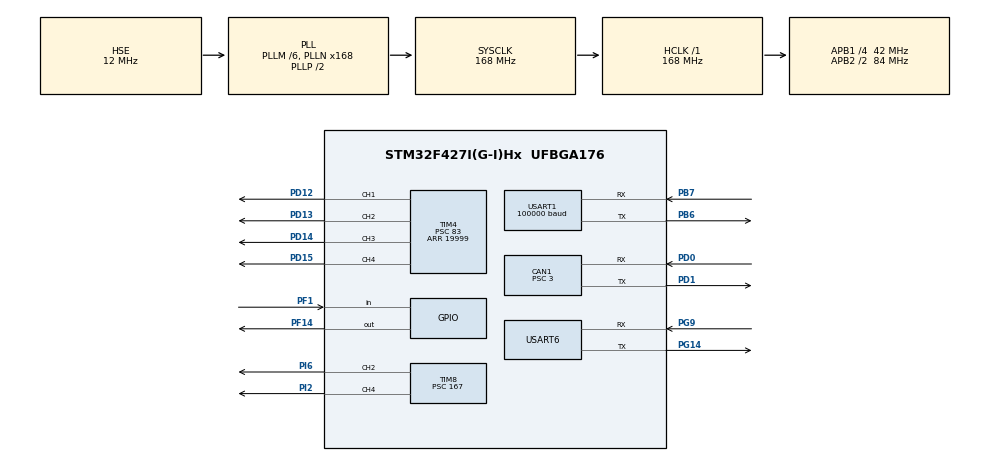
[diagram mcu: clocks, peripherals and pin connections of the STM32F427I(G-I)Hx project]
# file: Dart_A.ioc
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CAN1.BS1=CAN_BS1_10TQ
CAN1.BS2=CAN_BS2_3TQ
CAN1.CalculateBaudRate=1000000
CAN1.CalculateTimeBit=1000
CAN1.CalculateTimeQuantum=71.42857142857143
CAN1.Prescaler=3
Dma.Request0=USART1_RX
Dma.USART1_RX.0.Direction=DMA_PERIPH_TO_MEMORY
Dma.USART1_RX.0.FIFOMode=DMA_FIFOMODE_DISABLE
Dma.USART1_RX.0.Instance=DMA2_Stream2
Dma.USART1_RX.0.MemDataAlignment=DMA_MDATAALIGN_BYTE
Dma.USART1_RX.0.MemInc=DMA_MINC_ENABLE
Dma.USART1_RX.0.Mode=DMA_CIRCULAR
Dma.USART1_RX.0.PeriphDataAlignment=DMA_PDATAALIGN_BYTE
Dma.USART1_RX.0.PeriphInc=DMA_PINC_DISABLE
Dma.USART1_RX.0.Priority=DMA_PRIORITY_LOW
Mcu.Family=STM32F4
Mcu.Name=STM32F427I(G-I)Hx
Mcu.Package=UFBGA176
NVIC.CAN1_RX0_IRQn=true\:0\:0\:false\:false\:true\:true\:true\:true
NVIC.DMA2_Stream2_IRQn=true\:0\:0\:false\:false\:true\:false\:true\:true
NVIC.PriorityGroup=NVIC_PRIORITYGROUP_4
NVIC.TIM4_IRQn=true\:0\:0\:false\:false\:true\:true\:true\:true
NVIC.TIM7_IRQn=true\:0\:0\:false\:false\:true\:true\:true\:true
NVIC.TIM8_CC_IRQn=true\:0\:0\:false\:false\:true\:true\:true\:true
NVIC.USART1_IRQn=true\:0\:0\:false\:false\:true\:true\:true\:true
NVIC.USART6_IRQn=true\:0\:0\:false\:false\:true\:true\:true\:true
PA13.Mode=Serial_Wire
PA13.Signal=SYS_JTMS-SWDIO
PA14.Mode=Serial_Wire
PA14.Signal=SYS_JTCK-SWCLK
PB6.Mode=Asynchronous
PB6.Signal=USART1_TX
PB7.Mode=Asynchronous
PB7.Signal=USART1_RX
PD0.Mode=CAN_Activate
PD0.Signal=CAN1_RX
PD1.Mode=CAN_Activate
PD1.Signal=CAN1_TX
PD12.Signal=S_TIM4_CH1
PD13.Signal=S_TIM4_CH2
PD14.Signal=S_TIM4_CH3
PD15.Signal=S_TIM4_CH4
PF1.GPIO_PuPd=GPIO_PULLUP
PF1.Signal=GPIO_Input
PF14.Signal=GPIO_Output
PG14.Mode=Asynchronous
PG14.Signal=USART6_TX
PG9.Mode=Asynchronous
PG9.Signal=USART6_RX
PH0/OSC_IN.Mode=HSE-External-Oscillator
PH0/OSC_IN.Signal=RCC_OSC_IN
PH1/OSC_OUT.Mode=HSE-External-Oscillator
PH1/OSC_OUT.Signal=RCC_OSC_OUT
PI2.Signal=S_TIM8_CH4
PI6.Signal=S_TIM8_CH2
ProjectManager.HeapSize=0x200
ProjectManager.StackSize=0x400
ProjectManager.TargetToolchain=Makefile
RCC.48MHZClocksFreq_Value=84000000
RCC.AHBFreq_Value=168000000
RCC.APB1CLKDivider=RCC_HCLK_DIV4
RCC.APB1Freq_Value=42000000
RCC.APB1TimFreq_Value=84000000
RCC.APB2CLKDivider=RCC_HCLK_DIV2
RCC.APB2Freq_Value=84000000
RCC.APB2TimFreq_Value=168000000
RCC.CortexFreq_Value=168000000
RCC.HCLKFreq_Value=168000000
RCC.HSE_VALUE=12000000
RCC.HSI_VALUE=16000000
RCC.LSE_VALUE=32768
RCC.PLLM=6
RCC.PLLN=168
RCC.PLLSourceVirtual=RCC_PLLSOURCE_HSE
RCC.SYSCLKFreq_VALUE=168000000
RCC.SYSCLKSource=RCC_SYSCLKSOURCE_PLLCLK
RCC.VCOOutputFreq_Value=336000000
SH.S_TIM4_CH1.0=TIM4_CH1,PWM Generation1 CH1
SH.S_TIM4_CH2.0=TIM4_CH2,PWM Generation2 CH2
SH.S_TIM4_CH3.0=TIM4_CH3,PWM Generation3 CH3
SH.S_TIM4_CH4.0=TIM4_CH4,PWM Generation4 CH4
SH.S_TIM8_CH2.0=TIM8_CH2,PWM Generation2 CH2
SH.S_TIM8_CH4.0=TIM8_CH4,PWM Generation4 CH4
TIM4.AutoReloadPreload=TIM_AUTORELOAD_PRELOAD_ENABLE
TIM4.Channel-PWM\ Generation1\ CH1=TIM_CHANNEL_1
TIM4.Channel-PWM\ Generation2\ CH2=TIM_CHANNEL_2
TIM4.Channel-PWM\ Generation3\ CH3=TIM_CHANNEL_3
TIM4.Channel-PWM\ Generation4\ CH4=TIM_CHANNEL_4
TIM4.Period=19999
TIM4.Prescaler=83
TIM7.Period=4999
TIM7.Prescaler=167
TIM8.AutoReloadPreload=TIM_AUTORELOAD_PRELOAD_ENABLE
TIM8.Channel-PWM\ Generation2\ CH2=TIM_CHANNEL_2
TIM8.Channel-PWM\ Generation4\ CH4=TIM_CHANNEL_4
TIM8.Period=19999
TIM8.Prescaler=167
USART1.BaudRate=100000
USART1.Parity=PARITY_EVEN
USART1.VirtualMode=VM_ASYNC
USART1.WordLength=WORDLENGTH_9B
USART6.VirtualMode=VM_ASYNC
VP_TIM4_VS_ClockSourceINT.Mode=Internal
VP_TIM7_VS_ClockSourceINT.Mode=Enable_Timer
VP_TIM8_VS_ClockSourceINT.Mode=Internal
board=custom

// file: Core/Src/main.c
/* USER CODE BEGIN Header */
/**
  ******************************************************************************
  * @file           : main.c
  * @brief          : Main program body
  ******************************************************************************
  * @attention
  *
  * Copyright (c) 2024 STMicroelectronics.
  * All rights reserved.
  *
  * This software is licensed under terms that can be found in the LICENSE file
  * in the root directory of this software component.
  * If no LICENSE file comes with this software, it is provided AS-IS.
  *
  ******************************************************************************
  */
/* USER CODE END Header */
#include "main.h"
#include "can.h"
#include "dma.h"
#include "tim.h"
#include "usart.h"
#include "gpio.h"

/* USER CODE BEGIN Includes */
#include "stdio.h"
#include "string.h"
#include "can3508.h"
#include "pid.h"
#include "control.h"
/* USER CODE END Includes */

/* USER CODE BEGIN PTD */
RC_ctrl ctl={0};
Filter_RC_ty Filter_RC;
/* USER CODE END PTD */

/* USER CODE BEGIN PD */
extern pid_struct_t M3508_1_PID_S;
extern pid_struct_t M3508_2_PID_S;
extern pid_struct_t M2006_1_PID_S;

extern pid_struct_t M3508_1_PID_P;
extern pid_struct_t M3508_2_PID_P;
extern M3508_information M3508_1;
extern M3508_information M3508_2;
extern M3508_information M2006_1;
/* USER CODE END PD */

/* USER CODE BEGIN PV */
int M3508_1_Speed=0;
int M3508_2_Speed=0;
int M2006_1_Speed=0;

int M3508_1_Position=6000;
int M3508_2_Position=6000;
uint16_t Dart_shoot_flag=0;
uint16_t Dart_Key_flag=0;
uint16_t Dart_test_flag=0;
uint16_t Dart_mode=3;//1为手动模式，3为锁定模式，2为自动模式
uint8_t sbus_buf[18u]={0};

uint8_t Step_Enable[]={0x03,0xF3,0xAB,0x01,0x00,0x6B};
uint8_t Step_Disable[]={0x03,0xF3,0xAB,0x00,0x00,0x6B};
uint8_t Step_CW[]={0x03,0xF6,0x01,0x01,0x3B,0x0A,0x00,0x6B};//上
uint8_t Step_CCW[]={0x03,0xF6,0x00,0x01,0x3B ,0x0A,0x00,0x6B};//下
uint8_t Step_Stop[]={0x03,0xFE,0x98,0x00,0x6B};
uint8_t Step_90_CW[]={0x01,0xFD,0x00,0x00,0xDC,0x01,0x00,0x00,0x03,0x20,0x00,0x00,0x6B};//16细分下3200个脉冲表示一圈

/* USER CODE END PV */

void SystemClock_Config(void);

int main(void)
{

  /* MCU Configuration--------------------------------------------------------*/

  /* Reset of all peripherals, Initializes the Flash interface and the Systick. */
  HAL_Init();

  /* Configure the system clock */
  SystemClock_Config();

  /* Initialize all configured peripherals */
  MX_GPIO_Init();
  MX_DMA_Init();
  MX_CAN1_Init();
  MX_USART1_UART_Init();
  MX_TIM7_Init();
  MX_TIM8_Init();
  MX_USART6_UART_Init();
  MX_TIM4_Init();
  /* USER CODE BEGIN 2 */
  can_filter_init();
  M3508_PID_init();
  HAL_CAN_Start(&hcan1);
  HAL_UART_Receive_DMA(&huart1, sbus_buf, 18);
  Filter_RC.Filter_a=0.47;

  HAL_TIM_Base_Start_IT(&htim7);
  HAL_TIM_PWM_Start(&htim8,TIM_CHANNEL_2);
  HAL_TIM_PWM_Start(&htim8,TIM_CHANNEL_4);
  HAL_TIM_PWM_Start(&htim4,TIM_CHANNEL_1);
  HAL_TIM_PWM_Start(&htim4,TIM_CHANNEL_2);
  HAL_TIM_PWM_Start(&htim4,TIM_CHANNEL_3);
  HAL_TIM_PWM_Start(&htim4,TIM_CHANNEL_4);
  __HAL_TIM_SetCompare(&htim8,TIM_CHANNEL_2,500);//扳机归位X
  __HAL_TIM_SetCompare(&htim8,TIM_CHANNEL_4,1300);//送弹归位Z,2500最里面，1300最外面
  __HAL_TIM_SetCompare(&htim4,TIM_CHANNEL_4,1500);//四号弹归位E
  __HAL_TIM_SetCompare(&htim4,TIM_CHANNEL_3,1500);//三号弹归位F
  __HAL_TIM_SetCompare(&htim4,TIM_CHANNEL_2,1500);//二号弹归位G
  __HAL_TIM_SetCompare(&htim4,TIM_CHANNEL_1,1500);//一号弹归位H

  /* USER CODE END 2 */

  /* Infinite loop */
  /* USER CODE BEGIN WHILE */

  while (1)
  {
    if(Dart_mode==1)
    {
      //左摇杆-前后
		  if(ctl.rc.ch3>=30||ctl.rc.ch3<=-30)//射程调整
		  {
		  	Filter_RC.Filter_Now_ch3=Filter_RC.Filter_a*Filter_RC.Now_Sap_ch3+(1-Filter_RC.Filter_a)*Filter_RC.Filter_Last_ch3;
		  	M2006_1_Speed=msp(Filter_RC.Filter_Now_ch3,-660,660,-15000,15000);
		  	LIMIT_Speed_M2006();
		  	Filter_RC.Filter_Last_ch3=Filter_RC.Filter_Now_ch3;
		  }
		  else
		  {
		  	M2006_1_Speed=0;
		  }
      //左摇杆-左右
      if(ctl.rc.ch2>=30||ctl.rc.ch2<=-30)//调整yaw轴
      {
        if(ctl.rc.ch2>=30) HAL_UART_Transmit_IT(&huart6,Step_CW,sizeof(Step_CW));
        if(ctl.rc.ch2<=-30) HAL_UART_Transmit_IT(&huart6,Step_CCW,sizeof(Step_CCW));
      }
      else
      {
        HAL_UART_Transmit_IT(&huart6,Step_Stop,sizeof(Step_Stop));
      }
      //右摇杆-前后
      if(ctl.rc.ch1>=30||ctl.rc.ch1<=-30)//调整3508姿态
      {
        Filter_RC.Filter_Now_ch1=Filter_RC.Filter_a*Filter_RC.Now_Sap_ch1+(1-Filter_RC.Filter_a)*Filter_RC.Filter_Last_ch1;
        M3508_1_Speed=-msp(Filter_RC.Filter_Now_ch1,-660,660,-3000,3000);
        M3508_2_Speed=msp(Filter_RC.Filter_Now_ch1,-660,660,-3000,3000);
        LIMIT_Speed_M3508();
        Filter_RC.Filter_Last_ch1=Filter_RC.Filter_Now_ch1;
      }
      else
      {
        M3508_1_Speed=0;
        M3508_2_Speed=0;
      }
      //右摇杆-左右
      if(ctl.rc.ch0>=30||ctl.rc.ch0<=-30)
      {

      }
      else
      {

      }
      //右拨杆
      if(ctl.rc.s1==3)
      {
        __HAL_TIM_SetCompare(&htim8,TIM_CHANNEL_2,500);
      }
      else if(ctl.rc.s1==2)
      {
        __HAL_TIM_SetCompare(&htim8,TIM_CHANNEL_2,1500);
      }
    }
    if(Dart_shoot_flag==1&&Dart_mode==2)//启动�???发�
	  {
		  HAL_Delay(200);
		  M3508_1_Speed=-2000;
		  M3508_2_Speed=2000;
		  for(int i=0;;i++)//回拉上膛，扳机打�???
		  {
			  HAL_Delay(5);
			  if(i==200)
			  {
				  __HAL_TIM_SetCompare(&htim8,TIM_CHANNEL_2,1500);
			  }
			  Dart_Key_flag=HAL_GPIO_ReadPin(GPIOF, GPIO_PIN_1);
			  if(Dart_Key_flag==0)
			  {
				  M3508_1_Speed=0;
				  M3508_2_Speed=0;
				  break;
			  }
		  }
		  HAL_Delay(500);
		  for(int i=0;i<=200;i++)//扳机关闭
		  {
			  HAL_Delay(5);
			  __HAL_TIM_SetCompare(&htim8,TIM_CHANNEL_2,500);
		  }
		  M3508_1_Speed=2000;
		  M3508_2_Speed=-2000;
		  for(int i=0;i<=400;i++)
		  {
			  HAL_Delay(5);
			  Dart_Key_flag=HAL_GPIO_ReadPin(GPIOF, GPIO_PIN_1);
			  if(Dart_Key_flag==0)
			  {
				  HAL_GPIO_WritePin(GPIOH, GPIO_PIN_10, RESET);
			  }
		  }
		  M3508_1_Speed=0;
		  M3508_2_Speed=0;
		  for(int i=0;i<=20;i++)
		  {
			  HAL_Delay(5);
		  }
		  HAL_Delay(500);
		  __HAL_TIM_SetCompare(&htim8,TIM_CHANNEL_2,1500);//发射
		  HAL_Delay(1000);
		  __HAL_TIM_SetCompare(&htim8,TIM_CHANNEL_2,500);//归位
		  Dart_shoot_flag=0;
	  }
    if(Dart_test_flag==1)
    {
      HAL_Delay(200);
      __HAL_TIM_SetCompare(&htim4,TIM_CHANNEL_1,2500);
      HAL_Delay(1000);
      __HAL_TIM_SetCompare(&htim4,TIM_CHANNEL_1,1500);
      HAL_Delay(1000);
      __HAL_TIM_SetCompare(&htim4,TIM_CHANNEL_1,500);
      HAL_Delay(1000);
      __HAL_TIM_SetCompare(&htim4,TIM_CHANNEL_1,1500);
      Dart_test_flag=0;
    }
    /* USER CODE END WHILE */

  }
}

void SystemClock_Config(void)
{
  RCC_OscInitTypeDef RCC_OscInitStruct = {0};
  RCC_ClkInitTypeDef RCC_ClkInitStruct = {0};

  /** Configure the main internal regulator output voltage
  */
  __HAL_RCC_PWR_CLK_ENABLE();
  __HAL_PWR_VOLTAGESCALING_CONFIG(PWR_REGULATOR_VOLTAGE_SCALE1);

  /** Initializes the RCC Oscillators according to the specified parameters
  * in the RCC_OscInitTypeDef structure.
  */
  RCC_OscInitStruct.OscillatorType = RCC_OSCILLATORTYPE_HSE;
  RCC_OscInitStruct.HSEState = RCC_HSE_ON;
  RCC_OscInitStruct.PLL.PLLState = RCC_PLL_ON;
  RCC_OscInitStruct.PLL.PLLSource = RCC_PLLSOURCE_HSE;
  RCC_OscInitStruct.PLL.PLLM = 6;
  RCC_OscInitStruct.PLL.PLLN = 168;
  RCC_OscInitStruct.PLL.PLLP = RCC_PLLP_DIV2;
  RCC_OscInitStruct.PLL.PLLQ = 4;
  if (HAL_RCC_OscConfig(&RCC_OscInitStruct) != HAL_OK)
  {
    Error_Handler();
  }

  /** Initializes the CPU, AHB and APB buses clocks
  */
  RCC_ClkInitStruct.ClockType = RCC_CLOCKTYPE_HCLK|RCC_CLOCKTYPE_SYSCLK
                              |RCC_CLOCKTYPE_PCLK1|RCC_CLOCKTYPE_PCLK2;
  RCC_ClkInitStruct.SYSCLKSource = RCC_SYSCLKSOURCE_PLLCLK;
  RCC_ClkInitStruct.AHBCLKDivider = RCC_SYSCLK_DIV1;
  RCC_ClkInitStruct.APB1CLKDivider = RCC_HCLK_DIV4;
  RCC_ClkInitStruct.APB2CLKDivider = RCC_HCLK_DIV2;

  if (HAL_RCC_ClockConfig(&RCC_ClkInitStruct, FLASH_LATENCY_5) != HAL_OK)
  {
    Error_Handler();
  }
}

/* USER CODE BEGIN 4 */
void HAL_UART_RxCpltCallback(UART_HandleTypeDef *huart)
{
	HAL_UART_Receive_DMA(&huart1, sbus_buf, 18);
	if(huart==&huart1)
	{
		DR16_Analysis(sbus_buf);
		// if(ctl.rc.ch1>=30||ctl.rc.ch1<=-30)//右�?�道运动合成
		// {
		// 	Filter_RC.Filter_Now_ch1=Filter_RC.Filter_a*Filter_RC.Now_Sap_ch1+(1-Filter_RC.Filter_a)*Filter_RC.Filter_Last_ch1;
		// 	M3508_1_Speed=-msp(Filter_RC.Filter_Now_ch1,-660,660,-3000,3000);
		// 	M3508_2_Speed=msp(Filter_RC.Filter_Now_ch1,-660,660,-3000,3000);
		// 	LIMIT_Speed_M3508();
		// 	Filter_RC.Filter_Last_ch1=Filter_RC.Filter_Now_ch1;
		// }
		// else
		// {
		// 	M3508_1_Speed=0;
		// 	M3508_2_Speed=0;
		// }
//右拨杆
		if(ctl.rc.s1==3)
		{
			// M3508_1_Speed=0;
			// M3508_2_Speed=0;
      // HAL_UART_Transmit_IT(&huart6,Step_Stop,sizeof(Step_Stop));
		}
		else if(ctl.rc.s1==2)
		{
			// M3508_1_Speed=-2000;
			// M3508_2_Speed=2000;
			Dart_shoot_flag=1;
      // HAL_UART_Transmit_IT(&huart6,Step_CCW,sizeof(Step_CCW));
		}
		else if(ctl.rc.s1==1)
		{
			// M3508_1_Speed=2000;
			// M3508_2_Speed=-2000;
      // HAL_UART_Transmit_IT(&huart6,Step_CW,sizeof(Step_CW));
		}

//左拨杆
		if(ctl.rc.s2==1)
		{
      // __HAL_TIM_SetCompare(&htim8,TIM_CHANNEL_2,500);//扳机归位
      // __HAL_TIM_SetCompare(&htim4,TIM_CHANNEL_1,500);//一号弹归位
      Dart_mode=1;
		}
		else if(ctl.rc.s2==2)
		{
	    // __HAL_TIM_SetCompare(&htim8,TIM_CHANNEL_2,1500);//扳机打开90度
      // __HAL_TIM_SetCompare(&htim4,TIM_CHANNEL_1,2500);//一号弹放下
      Dart_mode=2;
		}
    else
    {
      Dart_mode=3;
    }
//右摇杆-左右
    if(ctl.rc.ch0>=30||ctl.rc.ch0<=-30)
    {
      if(ctl.rc.ch0>=30) HAL_UART_Transmit_IT(&huart6,Step_CW,sizeof(Step_CW));
      if(ctl.rc.ch0<=-30) HAL_UART_Transmit_IT(&huart6,Step_CCW,sizeof(Step_CCW));
    }
    else
    {
      HAL_UART_Transmit_IT(&huart6,Step_Stop,sizeof(Step_Stop));
    }

	}
}
void HAL_TIM_PeriodElapsedCallback(TIM_HandleTypeDef *htim)
{
	if(htim==&htim7)
	{
		  M3508_1_PID_S.output=pid_calc(&M3508_1_PID_S, M3508_1_Speed, M3508_1.rotor_speed);
		  M3508_2_PID_S.output=pid_calc(&M3508_2_PID_S, M3508_2_Speed, M3508_2.rotor_speed);
		  M2006_1_PID_S.output=pid_calc(&M2006_1_PID_S, M2006_1_Speed, M2006_1.rotor_speed);
		  set_M3508_1_motor_voltage(&hcan1,M3508_1_PID_S.output,M3508_2_PID_S.output,
				  M2006_1_PID_S.output,0);
	}
}
/* USER CODE END 4 */

void Error_Handler(void)
{
  __disable_irq();
  while (1)
  {
  }
}
